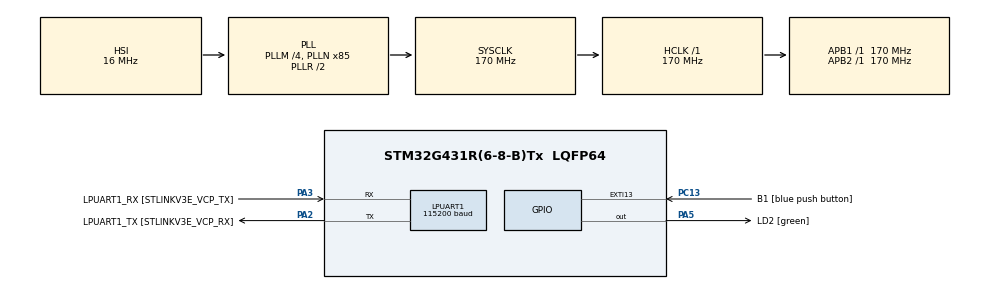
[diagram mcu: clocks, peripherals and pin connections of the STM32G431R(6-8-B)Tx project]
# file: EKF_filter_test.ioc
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LPTIM1.ClockPrescaler=LPTIM_PRESCALER_DIV128
LPUART1.BaudRate=115200
LPUART1.WordLength=UART_WORDLENGTH_8B
Mcu.Family=STM32G4
Mcu.Name=STM32G431R(6-8-B)Tx
Mcu.Package=LQFP64
NVIC.PriorityGroup=NVIC_PRIORITYGROUP_4
PA13.GPIO_Label=T_SWDIO
PA13.Mode=Serial_Wire
PA13.Signal=SYS_JTMS-SWDIO
PA14.GPIO_Label=T_SWCLK
PA14.Mode=Serial_Wire
PA14.Signal=SYS_JTCK-SWCLK
PA2.GPIO_Label=LPUART1_TX [STLINKV3E_VCP_RX]
PA2.Mode=Asynchronous
PA2.Signal=LPUART1_TX
PA3.GPIO_Label=LPUART1_RX [STLINKV3E_VCP_TX]
PA3.Mode=Asynchronous
PA3.Signal=LPUART1_RX
PA5.GPIO_Label=LD2 [green]
PA5.Signal=GPIO_Output
PB3.GPIO_Label=T_SWO
PB3.Signal=SYS_JTDO-SWO
PC13.GPIO_Label=B1 [blue push button]
PC13.Signal=GPXTI13
PC14-OSC32_IN.Mode=LSE-External-Oscillator
PC14-OSC32_IN.Signal=RCC_OSC32_IN
PC15-OSC32_OUT.Mode=LSE-External-Oscillator
PC15-OSC32_OUT.Signal=RCC_OSC32_OUT
PF0-OSC_IN.Mode=HSE-External-Oscillator
PF0-OSC_IN.Signal=RCC_OSC_IN
PF1-OSC_OUT.Mode=HSE-External-Oscillator
PF1-OSC_OUT.Signal=RCC_OSC_OUT
ProjectManager.HeapSize=0x200
ProjectManager.StackSize=0x400
ProjectManager.TargetToolchain=STM32CubeIDE
RCC.ADC12Freq_Value=170000000
RCC.AHBFreq_Value=170000000
RCC.APB1Freq_Value=170000000
RCC.APB1TimFreq_Value=170000000
RCC.APB2Freq_Value=170000000
RCC.APB2TimFreq_Value=170000000
RCC.CortexFreq_Value=170000000
RCC.EXTERNAL_CLOCK_VALUE=12288000
RCC.HCLKFreq_Value=170000000
RCC.HSE_VALUE=24000000
RCC.HSI48_VALUE=48000000
RCC.HSI_VALUE=16000000
RCC.LPTIM1CLockSelection=RCC_LPTIM1CLKSOURCE_LSI
RCC.LPUART1CLockSelection=RCC_LPUART1CLKSOURCE_HSI
RCC.PLLM=RCC_PLLM_DIV4
RCC.PLLN=85
RCC.RTCClockSelection=RCC_RTCCLKSOURCE_LSE
RCC.SYSCLKFreq_VALUE=170000000
RCC.SYSCLKSource=RCC_SYSCLKSOURCE_PLLCLK
RCC.USBFreq_Value=170000000
RCC.VCOOutputFreq_Value=340000000
VP_LPTIM1_VS_LPTIM_counterModeInternalClock.Mode=Counts__internal_clock_event_00
VP_SYS_VS_DBSignals.Mode=DisableDeadBatterySignals
board=NUCLEO-G431RB

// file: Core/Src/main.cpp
/* USER CODE BEGIN Header */
/**
  ******************************************************************************
  * @file           : main.c
  * @brief          : Main program body
  ******************************************************************************
  * @attention
  *
  * Copyright (c) 2022 STMicroelectronics.
  * All rights reserved.
  *
  * This software is licensed under terms that can be found in the LICENSE file
  * in the root directory of this software component.
  * If no LICENSE file comes with this software, it is provided AS-IS.
  *
  ******************************************************************************
  */
/* USER CODE END Header */
#include "main.h"

/* USER CODE BEGIN Includes */
#include "math.h"
#include "tinyEKF.h"
#include "tiny_ekf.h"
#include "tinyekf_config.h"
/* USER CODE END Includes */

UART_HandleTypeDef hlpuart1;

void SystemClock_Config(void);
static void MX_GPIO_Init(void);
static void MX_LPUART1_UART_Init(void);
/* USER CODE BEGIN PFP */
#ifdef __GNUC__
/* With GCC, small printf (option LD Linker->Libraries->Small printf
   set to 'Yes') calls __io_putchar() */
#define PUTCHAR_PROTOTYPE int __io_putchar(int ch)
#define GETCHAR_PROTOTYPE int __io_getchar()
#else
#define PUTCHAR_PROTOTYPE int fputc(int ch, FILE *f)
#endif /* __GNUC__ */
/* USER CODE END PFP */

/* USER CODE BEGIN 0 */

double gpsdata[25][16] = {{-11602023.9489137008786201,14063117.4931115992367268,18811434.3112745992839336,-20853271.5736341997981071,1806977.2118581600952893,16542682.1237923000007868,-14355926.0172339994460344,8650961.8841098193079233,20736354.9805863983929157,7475239.6753052901476622,12966181.2771377004683018,21931576.7921750992536545,23568206.4173782989382744,26183921.4577450007200241,24652215.2627705000340939,25606982.9330466017127037},
		{-11602700.4096150007098913,14060708.1637619994580746,18812823.4023028016090393,-20855049.9291185997426510,1805887.1306580700911582,16540582.4659656994044781,-14356344.1729805991053581,8648384.4768619798123837,20737164.3397033996880054,7472917.3215693095698953,12967714.4596338998526335,21931442.6029887981712818,23568427.7909861989319324,26184404.1127416007220745,24652621.9011856988072395,25606499.4748000986874104},
		{-11603377.0261803008615971,14058298.6961425002664328,18814212.0761809013783932,-20856828.1167653985321522,1804797.2804981300141662,16538482.4609003998339176,-14356762.4791433997452259,8645806.9947465099394321,20737973.2627678997814655,7470595.0720982002094388,12969247.7736987993121147,21931307.9468086995184422,23568650.0894557014107704,26184884.7086125016212463,24653025.2764103002846241,25606016.6971120014786720},
		{-11604053.7986267991364002,14055889.0902858991175890,18815600.3328956998884678,-20858606.1364935003221035,1803707.6613832199946046,16536382.1086646001785994,-14357180.9357223007827997,8643229.4378561992198229,20738781.7497542984783649,7468272.9269468197599053,12970781.2192928008735180,21931172.8236371017992496,23568869.5260895006358624,26185366.6481501981616020,24653428.8435873985290527,25605534.4603805989027023},
		{-11604730.7269448004662991,14053479.3463228996843100,18816988.1723781004548073,-20860383.9882667995989323,1802618.2732910700142384,16534281.4092740993946791,-14357599.5427193008363247,8640651.8062730506062508,20739589.8006406985223293,7465950.8861416298896074,12972314.7963951993733644,21931037.2334740012884140,23569094.4420915991067886,26185845.7782028988003731,24653834.8537949994206429,25605048.9604584984481335},
		{-11605407.8111640997231007,14051069.4642411991953850,18818375.5946411006152630,-20862161.6719904989004135,1801529.1162350000813603,16532180.3628132995218039,-14358018.3001422006636858,8638074.1000416092574596,20740397.4154165014624596,7463628.9497939096763730,12973848.5049293003976345,21930901.1763249002397060,23569315.4143446013331413,26186327.8049918003380299,24654241.1781065985560417,25604567.3344845995306969},
		{-11606085.0512815993279219,14048659.4441480003297329,18819762.5996288992464542,-20863939.1876304000616074,1800440.1901911599561572,16530078.9692954998463392,-14358437.2079997994005680,8635496.3192011900246143,20741204.5940730981528759,7461307.1179005000740290,12975382.3448939993977547,21930764.6521883010864258,23569537.8873163014650345,26186808.2263608016073704,24654645.1117384992539883,25604081.9392636008560658},
		{-11606762.4473100006580353,14046249.2860924992710352,18821149.1873193010687828,-20865716.5351110994815826,1799351.4951612299773842,16527977.2287824992090464,-14358856.2662888001650572,8632918.4638650994747877,20742011.3365787006914616,7458985.3905708203092217,12976916.3162136003375053,21930627.6610695011913776,23569760.0636343993246555,26187289.5027904994785786,24655052.4830632992088795,25603599.6850817985832691},
		{-11607439.9992581997066736,14043838.9901378005743027,18822535.3576819002628326,-20867493.7143885008990765,1798263.0311275599524379,16525875.1412992998957634,-14359275.4750231001526117,8630340.5340407807379961,20742817.6429346017539501,7456663.7678293604403734,12978450.4188688006252050,21930490.2029686011373997,23569981.9083983004093170,26187768.8422459997236729,24655456.8704008981585503,25603116.4885880984365940},
		{-11608117.7071295995265245,14041428.5563670992851257,18823921.1106748990714550,-20869270.7253601998090744,1797174.7981080398894846,16523772.7069393992424011,-14359694.8342019002884626,8627762.5298271290957928,20743623.5131133012473583,7454342.2497338298708200,12979984.6528181005269289,21930352.2778877988457680,23570205.8646384999155998,26188253.1899140998721123,24655862.4792538993060589,25602632.6115358993411064},
		{-11608795.5709421001374722,14039017.9848111998289824,18825306.4462864995002747,-20871047.5680137984454632,1796086.7960656299255788,16521669.9256903994828463,-14360114.3438322991132736,8625184.4512723106890917,20744428.9471033997833729,7452020.8363409303128719,12981519.0180207993835211,21930213.8858294002711773,23570427.8664544001221657,26188734.3965431004762650,24656267.6169511005282402,25602148.1411762982606888},
		{-11609473.5906990002840757,14036607.2755532003939152,18826691.3644751012325287,-20872824.2422708012163639,1794999.0250037000514567,16519566.7976179998368025,-14360534.0039195995777845,8622606.2984361592680216,20745233.9448899999260902,7449699.5277419695630670,12983053.5144130997359753,21930075.0267974995076656,23570650.3219759985804558,26189215.4635703004896641,24656671.8995876014232635,25601667.6320159994065762},
		{-11610151.7664094995707273,14034196.4286551997065544,18828075.8652108013629913,-20874600.7480676993727684,1793911.4849164399784058,16517463.3227698002010584,-14360953.8144662007689476,8620028.0713985096663237,20746038.5064514987170696,7447378.3239304702728987,12984588.1419961005449295,21929935.7007904984056950,23570873.1090517006814480,26189696.8272514007985592,24657077.3339385986328125,25601183.0395046994090080},
		{-11610830.0980858001857996,14031785.4441682007163763,18829459.9484703987836838,-20876377.0853387005627155,1792824.1757994499057531,16515359.5011966004967690,-14361373.7754756007343531,8617449.7702285703271627,20746842.6317701004445553,7445057.2250017002224922,12986122.9007034003734589,21929795.9078129008412361,23571094.6397118009626865,26190179.3251966014504433,24657484.6529132016003132,25600699.4416556991636753},
		{-11611508.5857305992394686,14029374.3221777006983757,18830843.6142107993364334,-20878153.2540492005646229,1791737.0976289999671280,16513255.3329117000102997,-14361793.8869582004845142,8614871.3949565794318914,20747646.3208399005234241,7442736.2310290103778243,12987657.7904831003397703,21929655.6478679999709129,23571317.6536404006183147,26190658.5076005011796951,24657890.0872642993927002,25600219.0895471982657909},
		{-11612187.2293522991240025,14026963.0627482999116182,18832226.8624009005725384,-20879929.2540921010077000,1790650.2504261699505150,16511150.8180149998515844,-14362214.1489185001701117,8612292.9456460792571306,20748449.5736446008086205,7440415.3420168599113822,12989192.8113291002810001,21929514.9209545999765396,23571542.2729890011250973,26191142.2270611003041267,24658293.6893425993621349,25599735.3346460983157158},
		{-11612866.0289661008864641,14024551.6659204997122288,18833609.6930234991014004,-20881705.0854518003761768,1789563.6341555600520223,16509045.9564973991364241,-14362634.5613554008305073,8609714.4223972298204899,20749252.3901568017899990,7438094.5580563498660922,12990727.9631776995956898,21929373.7270772010087967,23571765.6359219998121262,26191622.8229327984154224,24658699.8217025995254517,25599252.7314594015479088},
		{-11613544.9845812991261482,14022140.1317561008036137,18834992.1060491017997265,-20883480.7480603009462357,1788477.2488142400979996,16506940.7484122999012470,-14363055.1242757998406887,8607135.8252597600221634,20750054.7703643999993801,7435773.8791862595826387,12992263.2459998000413179,21929232.0662368983030319,23571987.5330366007983685,26192101.5167306996881962,24659106.9487251006066799,25598769.0638093985617161},
		{-11614224.0961968991905451,14019728.4603524003177881,18836374.1014277003705502,-20885256.2418182007968426,1787391.0944181799422950,16504835.1938502006232738,-14363475.8376898001879454,8604557.1542639899998903,20750856.7142618000507355,7433453.3054846199229360,12993798.6597405001521111,21929089.9384372010827065,23572212.1698355004191399,26192584.8348365016281605,24659511.3186132013797760,25598287.1935316994786263},
		{-11614903.3638345003128052,14017316.6517277993261814,18837755.6791551001369953,-20887031.5667084008455276,1786305.1709331099409610,16502729.2928037997335196,-14363896.7015940994024277,8601978.4095227196812630,20751658.2218171991407871,7431132.8369907401502132,12995334.2043703999370337,21928947.3436792008578777,23572433.9098982997238636,26193065.3609073981642723,24659918.7073891013860703,25597804.9916997998952866},
		{-11615582.7874893993139267,14014904.7059931997209787,18839136.8391736000776291,-20888806.7226402983069420,1785219.4783696499653161,16500623.0453533995896578,-14364317.7159989997744560,8599399.5910640191286802,20752459.2930257990956306,7428812.4737586695700884,12996869.8798501994460821,21928804.2819650992751122,23572658.6513984985649586,26193548.1555067002773285,24660325.0840523988008499,25597322.2140106000006199},
		{-11616262.3671784996986389,14012492.6231826990842819,18840517.5814694985747337,-20890581.7095695994794369,1784134.0167101800907403,16498516.4515240993350744,-14364738.8809060007333755,8596820.6989716701209545,20753259.9278649017214775,7426492.2158625600859523,12998405.6861275006085634,21928660.7532982006669044,23572882.7297905012965202,26194030.4265995994210243,24660732.8916335999965668,25596841.2162435986101627},
		{-11616942.1029125005006790,14010080.4033525995910168,18841897.9060166999697685,-20892356.5274465009570122,1783048.7859403199981898,16496409.5113475006073713,-14365160.1963243000209332,8594241.7332799397408962,20754060.1263274997472763,7424172.0633234297856688,12999941.6231851000338793,21928516.7576785981655121,23573105.2551130987703800,26194510.3070125989615917,24661138.8145914003252983,25596357.5136927999556065},
		{-11617621.9946924000978470,14007668.0465942993760109,18843277.8127687983214855,-20894131.1761795990169048,1781963.7860713400878012,16494302.2249049004167318,-14365581.6622592005878687,8591662.6940501499921083,20754859.8883983008563519,7421852.0162422796711326,13001477.6909523997455835,21928372.2951112985610962,23573329.6650592982769012,26194992.9794606007635593,24661542.6609732992947102,25595876.9347308985888958},
		{-11618302.0425349995493889,14005255.5529417991638184,18844657.3017124012112617,-20895905.6557381004095078,1780879.0170771600678563,16492194.5922053009271622,-14366003.2787072006613016,8589083.5813942104578018,20755659.2140460014343262,7419532.0746282795444131,13003013.8894202001392841,21928227.3655956983566284,23573552.3125334009528160,26195473.3659299984574318,24661950.1370006017386913,25595393.4415826015174389}
};
double gpsOutData[25][3];
static const double T = 1;

static void blkfill(ekf_t * ekf, const double * a, int off)
{
    off *= 2;

    ekf->Q[off]   [off]   = a[0];
    ekf->Q[off]   [off+1] = a[1];
    ekf->Q[off+1] [off]   = a[2];
    ekf->Q[off+1] [off+1] = a[3];
}

static void init(ekf_t * ekf)
{
    // Set Q, see [1]
    const double Sf    = 36;
    const double Sg    = 0.01;
    const double sigma = 5;         // state transition variance
    const double Qb[4] = {Sf*T+Sg*T*T*T/3, Sg*T*T/2, Sg*T*T/2, Sg*T};
    const double Qxyz[4] = {sigma*sigma*T*T*T/3, sigma*sigma*T*T/2, sigma*sigma*T*T/2, sigma*sigma*T};

    blkfill(ekf, Qxyz, 0);
    blkfill(ekf, Qxyz, 1);
    blkfill(ekf, Qxyz, 2);
    blkfill(ekf, Qb,   3);

    // initial covariances of state noise, measurement noise
    double P0 = 10;
    double R0 = 36;

    int i;

    for (i=0; i<8; ++i)
        ekf->P[i][i] = P0;

    for (i=0; i<4; ++i)
        ekf->R[i][i] = R0;

    // position
    ekf->x[0] = -2.168816181271560e+006;
    ekf->x[2] =  4.386648549091666e+006;
    ekf->x[4] =  4.077161596428751e+006;

    // velocity
    ekf->x[1] = 0;
    ekf->x[3] = 0;
    ekf->x[5] = 0;

    // clock bias
    ekf->x[6] = 3.575261153706439e+006;

    // clock drift
    ekf->x[7] = 4.549246345845814e+001;
}

static void model(ekf_t * ekf, double SV[4][3])
{

    int i, j;

    for (j=0; j<8; j+=2) {
        ekf->fx[j] = ekf->x[j] + T * ekf->x[j+1];
        ekf->fx[j+1] = ekf->x[j+1];
    }

    for (j=0; j<8; ++j)
        ekf->F[j][j] = 1;

    for (j=0; j<4; ++j)
        ekf->F[2*j][2*j+1] = T;

    double dx[4][3];

    for (i=0; i<4; ++i) {
        ekf->hx[i] = 0;
        for (j=0; j<3; ++j) {
            double d = ekf->fx[j*2] - SV[i][j];
            dx[i][j] = d;
            ekf->hx[i] += d*d;
        }
        ekf->hx[i] = pow(ekf->hx[i], 0.5) + ekf->fx[6];
    }

    for (i=0; i<4; ++i) {
        for (j=0; j<3; ++j)
            ekf->H[i][j*2]  = dx[i][j] / ekf->hx[i];
        ekf->H[i][6] = 1;
    }
}

static void readline(char * line, FILE * fp)
{
    fgets(line, 1000, fp);
}

static void readdata(double gpsdata[16], double SV_Pos[4][3], double SV_Rho[4])
{
    char line[1000];

    //readline(line, fp);

    //char * p = strtok(line, ",");

    int i, j;

    for (i=0; i<4; ++i)
        for (j=0; j<3; ++j) {
            SV_Pos[i][j] = gpsdata[i*3+j];

        }

    for (j=0; j<4; ++j) {
        SV_Rho[j] = gpsdata[j+12];

    }
}

static void skipline(FILE * fp)
{
    char line[1000];
    readline(line, fp);
    readline(line, fp);
}

void error(const char * msg)
{
    fprintf(stderr, "%s\n", msg);
}

/* USER CODE END 0 */

int main(void)
{

  /* MCU Configuration--------------------------------------------------------*/

  /* Reset of all peripherals, Initializes the Flash interface and the Systick. */
  HAL_Init();

  /* Configure the system clock */
  SystemClock_Config();

  /* Initialize all configured peripherals */
  MX_GPIO_Init();
  MX_LPUART1_UART_Init();

  /* Infinite loop */
  /* USER CODE BEGIN WHILE */
  while (1)
  {
	  ekf_t ekf;
		ekf_init(&ekf, Nsta, Mobs);

		// Do local initialization
		init(&ekf);

		// Open input data file
		//FILE * ifp = fopen("gps.h", "r"); //delete

		// Skip CSV header
		//skipline(ifp); //delete

		// Make a place to store the data from the file and the output of the EKF
		double SV_Pos[4][3];
		double SV_Rho[4];
		double Pos_KF[25][3];

		// Open output CSV file and write header
		//const char * OUTFILE = "ekf.csv"; //create another array to dump data
		//FILE * ofp = fopen(OUTFILE, "w"); // this is called gpsOutData
		//fprintf(ofp, "X,Y,Z\n"); //initializing csv, don't need

		int j, k;

		// Loop till no more data
		for (j=0; j<25; ++j) {

			readdata(gpsdata[j], SV_Pos, SV_Rho); //readdata from new array

			model(&ekf, SV_Pos);

			ekf_step(&ekf, SV_Rho);

			// grab positions, ignoring velocities
			for (k=0; k<3; ++k)
				Pos_KF[j][k] = ekf.x[2*k];
		}

		// Compute means of filtered positions
		double mean_Pos_KF[3] = {0, 0, 0};
		for (j=0; j<25; ++j)
			for (k=0; k<3; ++k)
				mean_Pos_KF[k] += Pos_KF[j][k];
		for (k=0; k<3; ++k)
			mean_Pos_KF[k] /= 25;

		// Dump filtered positions minus their means
		for (j=0; j<25; ++j) { //dump into 25x3 array
  //	        fprintf(ofp, "%f,%f,%f\n",
  //	                Pos_KF[j][0]-mean_Pos_KF[0], Pos_KF[j][1]-mean_Pos_KF[1], Pos_KF[j][2]-mean_Pos_KF[2]);//change into array
			for (k = 0; k < 3; k++){
				gpsOutData[j][k] = Pos_KF[j][k]-mean_Pos_KF[k];
			}
			uint8_t results[68] = "%10.10lf %10.10lf %10.10lf\r\n";
			sprintf((char *) results, "%10.10lf %10.10lf %10.10lf\r\n", Pos_KF[j][0], Pos_KF[j][1], Pos_KF[j][2]);
			HAL_UART_Transmit(&hlpuart1, results, 68, 50000);
			//printf("%10.10lf %10.10lf %10.10lf\r\n", Pos_KF[j][0], Pos_KF[j][1], Pos_KF[j][2]);
		}

		// Done!
		//fclose(ifp);
		//fclose(ofp);
		//printf("Wrote file %s\n", OUTFILE);
		return 0;

    /* USER CODE END WHILE */

  }
}

void SystemClock_Config(void)
{
  RCC_OscInitTypeDef RCC_OscInitStruct = {0};
  RCC_ClkInitTypeDef RCC_ClkInitStruct = {0};

  /** Configure the main internal regulator output voltage
  */
  HAL_PWREx_ControlVoltageScaling(PWR_REGULATOR_VOLTAGE_SCALE1_BOOST);
  /** Initializes the RCC Oscillators according to the specified parameters
  * in the RCC_OscInitTypeDef structure.
  */
  RCC_OscInitStruct.OscillatorType = RCC_OSCILLATORTYPE_HSI;
  RCC_OscInitStruct.HSIState = RCC_HSI_ON;
  RCC_OscInitStruct.HSICalibrationValue = RCC_HSICALIBRATION_DEFAULT;
  RCC_OscInitStruct.PLL.PLLState = RCC_PLL_ON;
  RCC_OscInitStruct.PLL.PLLSource = RCC_PLLSOURCE_HSI;
  RCC_OscInitStruct.PLL.PLLM = RCC_PLLM_DIV4;
  RCC_OscInitStruct.PLL.PLLN = 85;
  RCC_OscInitStruct.PLL.PLLP = RCC_PLLP_DIV2;
  RCC_OscInitStruct.PLL.PLLQ = RCC_PLLQ_DIV2;
  RCC_OscInitStruct.PLL.PLLR = RCC_PLLR_DIV2;
  if (HAL_RCC_OscConfig(&RCC_OscInitStruct) != HAL_OK)
  {
    Error_Handler();
  }
  /** Initializes the CPU, AHB and APB buses clocks
  */
  RCC_ClkInitStruct.ClockType = RCC_CLOCKTYPE_HCLK|RCC_CLOCKTYPE_SYSCLK
                              |RCC_CLOCKTYPE_PCLK1|RCC_CLOCKTYPE_PCLK2;
  RCC_ClkInitStruct.SYSCLKSource = RCC_SYSCLKSOURCE_PLLCLK;
  RCC_ClkInitStruct.AHBCLKDivider = RCC_SYSCLK_DIV1;
  RCC_ClkInitStruct.APB1CLKDivider = RCC_HCLK_DIV1;
  RCC_ClkInitStruct.APB2CLKDivider = RCC_HCLK_DIV1;

  if (HAL_RCC_ClockConfig(&RCC_ClkInitStruct, FLASH_LATENCY_4) != HAL_OK)
  {
    Error_Handler();
  }
}

static void MX_LPUART1_UART_Init(void)
{

  hlpuart1.Instance = LPUART1;
  hlpuart1.Init.BaudRate = 115200;
  hlpuart1.Init.WordLength = UART_WORDLENGTH_8B;
  hlpuart1.Init.StopBits = UART_STOPBITS_1;
  hlpuart1.Init.Parity = UART_PARITY_NONE;
  hlpuart1.Init.Mode = UART_MODE_TX_RX;
  hlpuart1.Init.HwFlowCtl = UART_HWCONTROL_NONE;
  hlpuart1.Init.OneBitSampling = UART_ONE_BIT_SAMPLE_DISABLE;
  hlpuart1.Init.ClockPrescaler = UART_PRESCALER_DIV1;
  hlpuart1.AdvancedInit.AdvFeatureInit = UART_ADVFEATURE_NO_INIT;
  if (HAL_UART_Init(&hlpuart1) != HAL_OK)
  {
    Error_Handler();
  }
  if (HAL_UARTEx_SetTxFifoThreshold(&hlpuart1, UART_TXFIFO_THRESHOLD_1_8) != HAL_OK)
  {
    Error_Handler();
  }
  if (HAL_UARTEx_SetRxFifoThreshold(&hlpuart1, UART_RXFIFO_THRESHOLD_1_8) != HAL_OK)
  {
    Error_Handler();
  }
  if (HAL_UARTEx_DisableFifoMode(&hlpuart1) != HAL_OK)
  {
    Error_Handler();
  }

}

static void MX_GPIO_Init(void)
{
  GPIO_InitTypeDef GPIO_InitStruct = {0};

  /* GPIO Ports Clock Enable */
  __HAL_RCC_GPIOC_CLK_ENABLE();
  __HAL_RCC_GPIOF_CLK_ENABLE();
  __HAL_RCC_GPIOA_CLK_ENABLE();
  __HAL_RCC_GPIOB_CLK_ENABLE();

  /*Configure GPIO pin Output Level */
  HAL_GPIO_WritePin(LD2_GPIO_Port, LD2_Pin, GPIO_PIN_RESET);

  /*Configure GPIO pin : B1_Pin */
  GPIO_InitStruct.Pin = B1_Pin;
  GPIO_InitStruct.Mode = GPIO_MODE_IT_RISING;
  GPIO_InitStruct.Pull = GPIO_NOPULL;
  HAL_GPIO_Init(B1_GPIO_Port, &GPIO_InitStruct);

  /*Configure GPIO pin : LD2_Pin */
  GPIO_InitStruct.Pin = LD2_Pin;
  GPIO_InitStruct.Mode = GPIO_MODE_OUTPUT_PP;
  GPIO_InitStruct.Pull = GPIO_NOPULL;
  GPIO_InitStruct.Speed = GPIO_SPEED_FREQ_LOW;
  HAL_GPIO_Init(LD2_GPIO_Port, &GPIO_InitStruct);

}

/* USER CODE BEGIN 4 */
/**
  * @brief  Retargets the C library printf and scanf functions to the UART.
  * @param  None
  * @retval None
  */

PUTCHAR_PROTOTYPE
{
  /* Place your implementation of fputc here */
  /* e.g. write a character to the LPUART1 and Loop until the end of transmission */
  HAL_UART_Transmit(&hlpuart1, (uint8_t *)&ch, 1, 0xFFFF);

  return ch;
}

GETCHAR_PROTOTYPE
{
	uint8_t ch;

	HAL_UART_Receive(&hlpuart1, &ch, 1, 0xFFFF);

	return ch;
}
/* USER CODE END 4 */

void Error_Handler(void)
{
  __disable_irq();
  while (1)
  {
  }
}
